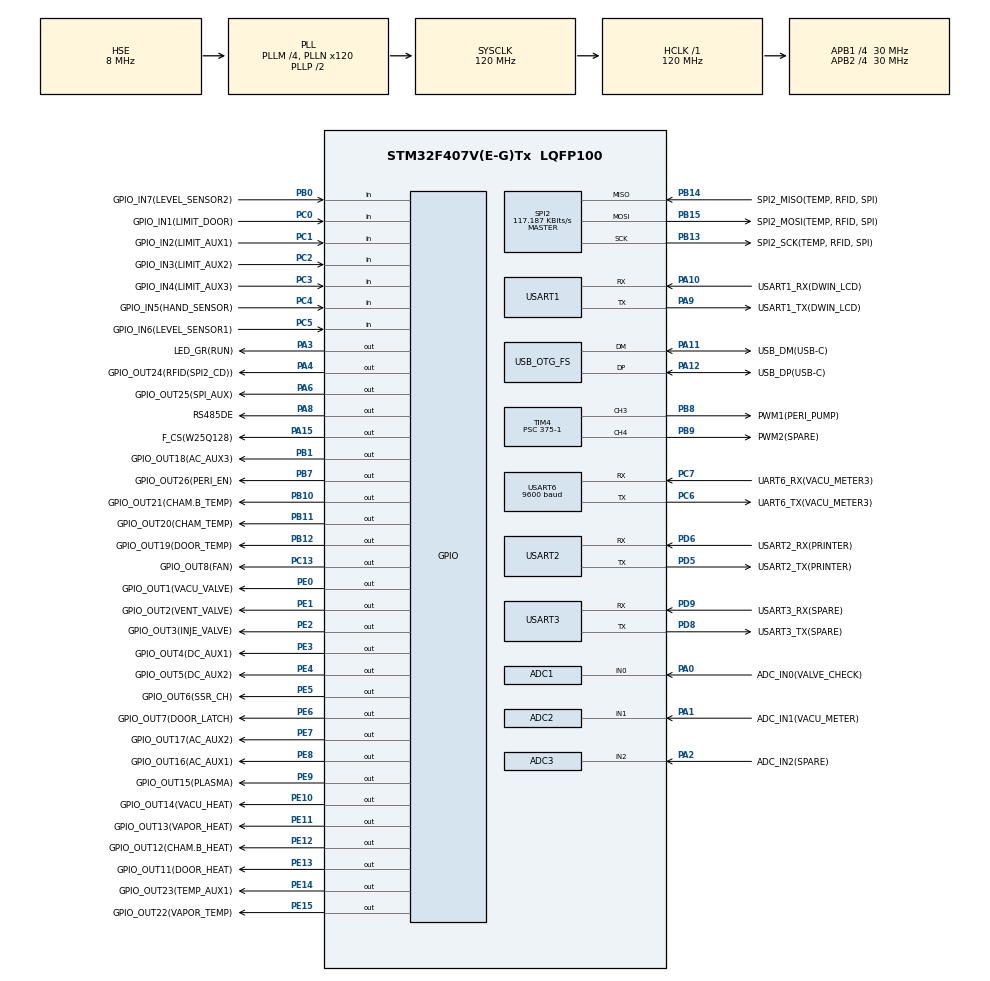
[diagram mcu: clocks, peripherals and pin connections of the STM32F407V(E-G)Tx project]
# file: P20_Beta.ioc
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ADC1.Channel-3\#ChannelRegularConversion=ADC_CHANNEL_0
ADC1.Channel-4\#ChannelInjectedConversion=ADC_CHANNEL_0
ADC1.ClockPrescaler=ADC_CLOCK_SYNC_PCLK_DIV8
ADC1.InjNumberOfConversion=1
ADC1.InjectedOffset-4\#ChannelInjectedConversion=0
ADC1.InjectedRank-4\#ChannelInjectedConversion=1
ADC1.NbrOfConversion=1
ADC1.NbrOfConversionFlag=1
ADC1.Rank-3\#ChannelRegularConversion=1
ADC1.SamplingTime-3\#ChannelRegularConversion=ADC_SAMPLETIME_3CYCLES
ADC1.SamplingTime-4\#ChannelInjectedConversion=ADC_SAMPLETIME_3CYCLES
ADC1.master=1
ADC2.Channel-10\#ChannelRegularConversion=ADC_CHANNEL_1
ADC2.Channel-11\#ChannelRegularConversion=ADC_CHANNEL_1
ADC2.Channel-12\#ChannelRegularConversion=ADC_CHANNEL_1
ADC2.Channel-13\#ChannelRegularConversion=ADC_CHANNEL_1
ADC2.Channel-14\#ChannelRegularConversion=ADC_CHANNEL_1
ADC2.ClockPrescaler=ADC_CLOCK_SYNC_PCLK_DIV8
ADC2.ContinuousConvMode=ENABLE
ADC2.DMAContinuousRequests=ENABLE
ADC2.DiscontinuousConvMode=DISABLE
ADC2.NbrOfConversion=5
ADC2.NbrOfConversionFlag=1
ADC2.Rank-10\#ChannelRegularConversion=1
ADC2.Rank-11\#ChannelRegularConversion=2
ADC2.Rank-12\#ChannelRegularConversion=3
ADC2.Rank-13\#ChannelRegularConversion=4
ADC2.Rank-14\#ChannelRegularConversion=5
ADC2.SamplingTime-10\#ChannelRegularConversion=ADC_SAMPLETIME_15CYCLES
ADC2.SamplingTime-11\#ChannelRegularConversion=ADC_SAMPLETIME_15CYCLES
ADC2.SamplingTime-12\#ChannelRegularConversion=ADC_SAMPLETIME_15CYCLES
ADC2.SamplingTime-13\#ChannelRegularConversion=ADC_SAMPLETIME_15CYCLES
ADC2.SamplingTime-14\#ChannelRegularConversion=ADC_SAMPLETIME_15CYCLES
ADC2.ScanConvMode=ENABLE
ADC3.Channel-2\#ChannelRegularConversion=ADC_CHANNEL_2
ADC3.ClockPrescaler=ADC_CLOCK_SYNC_PCLK_DIV8
ADC3.NbrOfConversionFlag=1
ADC3.Rank-2\#ChannelRegularConversion=1
ADC3.SamplingTime-2\#ChannelRegularConversion=ADC_SAMPLETIME_3CYCLES
Dma.ADC2.0.Direction=DMA_PERIPH_TO_MEMORY
Dma.ADC2.0.FIFOMode=DMA_FIFOMODE_ENABLE
Dma.ADC2.0.FIFOThreshold=DMA_FIFO_THRESHOLD_FULL
Dma.ADC2.0.Instance=DMA2_Stream2
Dma.ADC2.0.MemBurst=DMA_MBURST_SINGLE
Dma.ADC2.0.MemDataAlignment=DMA_MDATAALIGN_WORD
Dma.ADC2.0.MemInc=DMA_MINC_ENABLE
Dma.ADC2.0.Mode=DMA_CIRCULAR
Dma.ADC2.0.PeriphBurst=DMA_PBURST_SINGLE
Dma.ADC2.0.PeriphDataAlignment=DMA_PDATAALIGN_WORD
Dma.ADC2.0.PeriphInc=DMA_PINC_DISABLE
Dma.ADC2.0.Priority=DMA_PRIORITY_LOW
Dma.Request0=ADC2
FATFS._USE_LFN=1
Mcu.Family=STM32F4
Mcu.Name=STM32F407V(E-G)Tx
Mcu.Package=LQFP100
NVIC.DMA2_Stream2_IRQn=true\:0\:0\:false\:false\:true\:false\:true\:true
NVIC.OTG_FS_IRQn=true\:0\:0\:false\:false\:true\:false\:true\:true
NVIC.PriorityGroup=NVIC_PRIORITYGROUP_4
NVIC.TIM7_IRQn=true\:0\:0\:false\:true\:true\:2\:true\:true\:true
NVIC.USART1_IRQn=true\:5\:0\:true\:true\:true\:1\:true\:true\:true
NVIC.USART6_IRQn=true\:0\:0\:false\:false\:true\:true\:true\:true
PA0-WKUP.GPIO_Label=ADC_IN0(VALVE_CHECK)
PA0-WKUP.Signal=ADCx_IN0
PA1.GPIO_Label=ADC_IN1(VACU_METER)
PA1.Signal=ADCx_IN1
PA10.GPIO_Label=USART1_RX(DWIN_LCD)
PA10.GPIO_PuPd=GPIO_PULLUP
PA10.GPIO_Speed=GPIO_SPEED_FREQ_VERY_HIGH
PA10.Mode=Asynchronous
PA10.Signal=USART1_RX
PA11.GPIO_Label=USB_DM(USB-C)
PA11.GPIO_PuPd=GPIO_PULLUP
PA11.GPIO_Speed=GPIO_SPEED_FREQ_HIGH
PA11.Mode=Host_Only
PA11.Signal=USB_OTG_FS_DM
PA12.GPIO_Label=USB_DP(USB-C)
PA12.GPIO_PuPd=GPIO_PULLUP
PA12.GPIO_Speed=GPIO_SPEED_FREQ_HIGH
PA12.Mode=Host_Only
PA12.Signal=USB_OTG_FS_DP
PA13.Mode=Trace_Asynchronous_SW
PA13.Signal=SYS_JTMS-SWDIO
PA14.Mode=Trace_Asynchronous_SW
PA14.Signal=SYS_JTCK-SWCLK
PA15.GPIO_Label=F_CS(W25Q128)
PA15.GPIO_PuPd=GPIO_PULLUP
PA15.GPIO_Speed=GPIO_SPEED_FREQ_LOW
PA15.PinState=GPIO_PIN_RESET
PA15.Signal=GPIO_Output
PA2.GPIO_Label=ADC_IN2(SPARE)
PA2.Signal=ADCx_IN2
PA3.GPIO_Label=LED_GR(RUN)
PA3.Signal=GPIO_Output
PA4.GPIO_Label=GPIO_OUT24(RFID(SPI2_CD))
PA4.GPIO_PuPd=GPIO_PULLUP
PA4.GPIO_Speed=GPIO_SPEED_FREQ_VERY_HIGH
PA4.PinState=GPIO_PIN_SET
PA4.Signal=GPIO_Output
PA5.GPIO_Mode=GPIO_MODE_AF_PP
PA5.GPIO_PuPd=GPIO_PULLDOWN
PA5.GPIO_Speed=GPIO_SPEED_FREQ_HIGH
PA5.Signal=SPI1_SCK
PA6.GPIO_Label=GPIO_OUT25(SPI_AUX)
PA6.GPIO_PuPd=GPIO_PULLUP
PA6.GPIO_Speed=GPIO_SPEED_FREQ_VERY_HIGH
PA6.PinState=GPIO_PIN_SET
PA6.Signal=GPIO_Output
PA8.GPIO_Label=RS485DE
PA8.GPIO_ModeDefaultOutputPP=GPIO_MODE_OUTPUT_OD
PA8.GPIO_PuPd=GPIO_NOPULL
PA8.GPIO_Speed=GPIO_SPEED_FREQ_VERY_HIGH
PA8.Signal=GPIO_Output
PA9.GPIO_Label=USART1_TX(DWIN_LCD)
PA9.GPIO_PuPd=GPIO_PULLUP
PA9.GPIO_Speed=GPIO_SPEED_FREQ_HIGH
PA9.Mode=Asynchronous
PA9.Signal=USART1_TX
PB0.GPIO_Label=GPIO_IN7(LEVEL_SENSOR2)
PB0.GPIO_PuPd=GPIO_PULLDOWN
PB0.Signal=GPIO_Input
PB1.GPIO_Label=GPIO_OUT18(AC_AUX3)
PB1.GPIO_ModeDefaultOutputPP=GPIO_MODE_OUTPUT_OD
PB1.PinState=GPIO_PIN_SET
PB1.Signal=GPIO_Output
PB10.GPIO_Label=GPIO_OUT21(CHAM.B_TEMP)
PB10.GPIO_PuPd=GPIO_PULLUP
PB10.GPIO_Speed=GPIO_SPEED_FREQ_VERY_HIGH
PB10.PinState=GPIO_PIN_SET
PB10.Signal=GPIO_Output
PB11.GPIO_Label=GPIO_OUT20(CHAM_TEMP)
PB11.GPIO_PuPd=GPIO_PULLUP
PB11.GPIO_Speed=GPIO_SPEED_FREQ_VERY_HIGH
PB11.PinState=GPIO_PIN_SET
PB11.Signal=GPIO_Output
PB12.GPIO_Label=GPIO_OUT19(DOOR_TEMP)
PB12.GPIO_PuPd=GPIO_PULLUP
PB12.GPIO_Speed=GPIO_SPEED_FREQ_VERY_HIGH
PB12.PinState=GPIO_PIN_SET
PB12.Signal=GPIO_Output
PB13.GPIO_Label=SPI2_SCK(TEMP, RFID, SPI)
PB13.Mode=Full_Duplex_Master
PB13.Signal=SPI2_SCK
PB14.GPIO_Label=SPI2_MISO(TEMP, RFID, SPI)
PB14.GPIO_PuPd=GPIO_PULLUP
PB14.Mode=Full_Duplex_Master
PB14.Signal=SPI2_MISO
PB15.GPIO_Label=SPI2_MOSI(TEMP, RFID, SPI)
PB15.GPIO_PuPd=GPIO_PULLUP
PB15.Mode=Full_Duplex_Master
PB15.Signal=SPI2_MOSI
PB3.Mode=Trace_Asynchronous_SW
PB3.Signal=SYS_JTDO-SWO
PB4.GPIO_Mode=GPIO_MODE_AF_PP
PB4.GPIO_PuPd=GPIO_PULLUP
PB4.GPIO_Speed=GPIO_SPEED_FREQ_HIGH
PB4.Signal=SPI1_MISO
PB5.GPIO_Mode=GPIO_MODE_AF_PP
PB5.GPIO_PuPd=GPIO_NOPULL
PB5.GPIO_Speed=GPIO_SPEED_FREQ_HIGH
PB5.Signal=SPI1_MOSI
PB7.GPIO_Label=GPIO_OUT26(PERI_EN)
PB7.GPIO_ModeDefaultOutputPP=GPIO_MODE_OUTPUT_OD
PB7.PinState=GPIO_PIN_SET
PB7.Signal=GPIO_Output
PB8.GPIO_Label=PWM1(PERI_PUMP)
PB8.GPIO_ModeDefaultPP=GPIO_MODE_AF_PP
PB8.GPIO_PuPd=GPIO_PULLUP
PB8.Signal=S_TIM4_CH3
PB9.GPIO_Label=PWM2(SPARE)
PB9.GPIO_PuPd=GPIO_PULLUP
PB9.Signal=S_TIM4_CH4
PC0.GPIO_Label=GPIO_IN1(LIMIT_DOOR)
PC0.Signal=GPIO_Input
PC1.GPIO_Label=GPIO_IN2(LIMIT_AUX1)
PC1.Signal=GPIO_Input
PC10.GPIO_Label=SDIO_D2(MICRO_SD)
PC10.GPIO_PuPd=GPIO_PULLUP
PC10.Signal=SDIO_D2
PC11.GPIO_Label=SDIO_D3(MICRO_SD)
PC11.GPIO_PuPd=GPIO_PULLUP
PC11.Signal=SDIO_D3
PC12.GPIO_Label=SDIO_CK(MICRO_SD)
PC12.GPIO_PuPd=GPIO_PULLUP
PC12.Signal=SDIO_CK
PC13-ANTI_TAMP.GPIO_Label=GPIO_OUT8(FAN)
PC13-ANTI_TAMP.Signal=GPIO_Output
PC2.GPIO_Label=GPIO_IN3(LIMIT_AUX2)
PC2.Signal=GPIO_Input
PC3.GPIO_Label=GPIO_IN4(LIMIT_AUX3)
PC3.Signal=GPIO_Input
PC4.GPIO_Label=GPIO_IN5(HAND_SENSOR)
PC4.GPIO_PuPd=GPIO_PULLDOWN
PC4.Signal=GPIO_Input
PC5.GPIO_Label=GPIO_IN6(LEVEL_SENSOR1)
PC5.GPIO_PuPd=GPIO_PULLDOWN
PC5.Signal=GPIO_Input
PC6.GPIO_Label=UART6_TX(VACU_METER3)
PC6.GPIO_Speed=GPIO_SPEED_FREQ_VERY_HIGH
PC6.Mode=Asynchronous
PC6.Signal=USART6_TX
PC7.GPIO_Label=UART6_RX(VACU_METER3)
PC7.GPIO_Speed=GPIO_SPEED_FREQ_VERY_HIGH
PC7.Mode=Asynchronous
PC7.Signal=USART6_RX
PC8.GPIO_Label=SDIO_D0(MICRO_SD)
PC8.GPIO_PuPd=GPIO_PULLUP
PC8.Signal=SDIO_D0
PC9.GPIO_Label=SDIO_D1(MICRO_SD)
PC9.GPIO_PuPd=GPIO_PULLUP
PC9.Signal=SDIO_D1
PD2.GPIO_Label=SDIO_CMD(MICRO_SD)
PD2.GPIO_PuPd=GPIO_PULLUP
PD2.Signal=SDIO_CMD
PD5.GPIO_Label=USART2_TX(PRINTER)
PD5.GPIO_PuPd=GPIO_PULLUP
PD5.Mode=Asynchronous
PD5.Signal=USART2_TX
PD6.GPIO_Label=USART2_RX(PRINTER)
PD6.GPIO_PuPd=GPIO_PULLUP
PD6.Mode=Asynchronous
PD6.Signal=USART2_RX
PD8.GPIO_Label=USART3_TX(SPARE)
PD8.Mode=Asynchronous
PD8.Signal=USART3_TX
PD9.GPIO_Label=USART3_RX(SPARE)
PD9.Mode=Asynchronous
PD9.Signal=USART3_RX
PE0.GPIO_Label=GPIO_OUT1(VACU_VALVE)
PE0.GPIO_ModeDefaultOutputPP=GPIO_MODE_OUTPUT_PP
PE0.GPIO_Speed=GPIO_SPEED_FREQ_LOW
PE0.Signal=GPIO_Output
PE1.GPIO_Label=GPIO_OUT2(VENT_VALVE)
PE1.Signal=GPIO_Output
PE10.GPIO_Label=GPIO_OUT14(VACU_HEAT)
PE10.GPIO_ModeDefaultOutputPP=GPIO_MODE_OUTPUT_OD
PE10.PinState=GPIO_PIN_SET
PE10.Signal=GPIO_Output
PE11.GPIO_Label=GPIO_OUT13(VAPOR_HEAT)
PE11.GPIO_ModeDefaultOutputPP=GPIO_MODE_OUTPUT_OD
PE11.PinState=GPIO_PIN_SET
PE11.Signal=GPIO_Output
PE12.GPIO_Label=GPIO_OUT12(CHAM.B_HEAT)
PE12.GPIO_ModeDefaultOutputPP=GPIO_MODE_OUTPUT_OD
PE12.PinState=GPIO_PIN_SET
PE12.Signal=GPIO_Output
PE13.GPIO_Label=GPIO_OUT11(DOOR_HEAT)
PE13.GPIO_ModeDefaultOutputPP=GPIO_MODE_OUTPUT_OD
PE13.PinState=GPIO_PIN_SET
PE13.Signal=GPIO_Output
PE14.GPIO_Label=GPIO_OUT23(TEMP_AUX1)
PE14.GPIO_PuPd=GPIO_PULLUP
PE14.GPIO_Speed=GPIO_SPEED_FREQ_VERY_HIGH
PE14.PinState=GPIO_PIN_SET
PE14.Signal=GPIO_Output
PE15.GPIO_Label=GPIO_OUT22(VAPOR_TEMP)
PE15.GPIO_PuPd=GPIO_PULLUP
PE15.GPIO_Speed=GPIO_SPEED_FREQ_VERY_HIGH
PE15.PinState=GPIO_PIN_SET
PE15.Signal=GPIO_Output
PE2.GPIO_Label=GPIO_OUT3(INJE_VALVE)
PE2.Signal=GPIO_Output
PE3.GPIO_Label=GPIO_OUT4(DC_AUX1)
PE3.Signal=GPIO_Output
PE4.GPIO_Label=GPIO_OUT5(DC_AUX2)
PE4.Signal=GPIO_Output
PE5.GPIO_Label=GPIO_OUT6(SSR_CH)
PE5.Signal=GPIO_Output
PE6.GPIO_Label=GPIO_OUT7(DOOR_LATCH)
PE6.Signal=GPIO_Output
PE7.GPIO_Label=GPIO_OUT17(AC_AUX2)
PE7.GPIO_ModeDefaultOutputPP=GPIO_MODE_OUTPUT_OD
PE7.PinState=GPIO_PIN_SET
PE7.Signal=GPIO_Output
PE8.GPIO_Label=GPIO_OUT16(AC_AUX1)
PE8.GPIO_ModeDefaultOutputPP=GPIO_MODE_OUTPUT_OD
PE8.PinState=GPIO_PIN_SET
PE8.Signal=GPIO_Output
PE9.GPIO_Label=GPIO_OUT15(PLASMA)
PE9.GPIO_ModeDefaultOutputPP=GPIO_MODE_OUTPUT_OD
PE9.PinState=GPIO_PIN_SET
PE9.Signal=GPIO_Output
PH0-OSC_IN.Mode=HSE-External-Oscillator
PH0-OSC_IN.Signal=RCC_OSC_IN
PH1-OSC_OUT.Mode=HSE-External-Oscillator
PH1-OSC_OUT.Signal=RCC_OSC_OUT
ProjectManager.HeapSize=0x200
ProjectManager.StackSize=0x400
ProjectManager.TargetToolchain=STM32CubeIDE
RCC.48MHZClocksFreq_Value=48000000
RCC.AHBFreq_Value=120000000
RCC.APB1CLKDivider=RCC_HCLK_DIV4
RCC.APB1Freq_Value=30000000
RCC.APB1TimFreq_Value=60000000
RCC.APB2CLKDivider=RCC_HCLK_DIV4
RCC.APB2Freq_Value=30000000
RCC.APB2TimFreq_Value=60000000
RCC.CortexFreq_Value=120000000
RCC.HCLKFreq_Value=120000000
RCC.HSE_VALUE=8000000
RCC.HSI_VALUE=16000000
RCC.LSE_VALUE=32768
RCC.PLLM=4
RCC.PLLN=120
RCC.PLLQ=5
RCC.SYSCLKFreq_VALUE=120000000
RCC.SYSCLKSource=RCC_SYSCLKSOURCE_PLLCLK
RCC.VCOOutputFreq_Value=240000000
SH.ADCx_IN0.0=ADC1_IN0,IN0
SH.ADCx_IN1.0=ADC2_IN1,IN1
SH.ADCx_IN2.0=ADC3_IN2,IN2
SH.S_TIM4_CH3.0=TIM4_CH3,PWM Generation3 CH3
SH.S_TIM4_CH4.0=TIM4_CH4,PWM Generation4 CH4
SPI2.BaudRatePrescaler=SPI_BAUDRATEPRESCALER_256
SPI2.CalculateBaudRate=117.187 KBits/s
SPI2.Direction=SPI_DIRECTION_2LINES
SPI2.Mode=SPI_MODE_MASTER
SPI2.VirtualType=VM_MASTER
TIM4.AutoReloadPreload=TIM_AUTORELOAD_PRELOAD_ENABLE
TIM4.Channel-PWM\ Generation3\ CH3=TIM_CHANNEL_3
TIM4.Channel-PWM\ Generation4\ CH4=TIM_CHANNEL_4
TIM4.Period=550-1
TIM4.Prescaler=375-1
TIM4.Pulse-PWM\ Generation3\ CH3=550/2-1
TIM4.Pulse-PWM\ Generation4\ CH4=550/2-1
TIM7.Period=6000-1
TIM7.Prescaler=10-1
USART1.VirtualMode=VM_ASYNC
USART2.VirtualMode=VM_ASYNC
USART3.VirtualMode=VM_ASYNC
USART6.BaudRate=9600
USART6.VirtualMode=VM_ASYNC
USB_HOST.SW_VBUS_DRIVE_MSC_FS=true
USB_HOST.USBH_HandleTypeDef-MSC_FS=hUsbHostFS
USB_HOST.USBH_PROCESS_STACK_SIZE-MSC_FS=1024
USB_HOST.VirtualModeFS=Msc
USB_OTG_FS.VirtualMode=Host_Only
USB_OTG_FS.phy_itface=HCD_PHY_EMBEDDED
VP_CRC_VS_CRC.Mode=CRC_Activate
VP_FATFS_VS_USB.Mode=USB
VP_RTC_VS_RTC_Activate.Mode=RTC_Enabled
VP_RTC_VS_RTC_Calendar.Mode=RTC_Calendar
VP_TIM7_VS_ClockSourceINT.Mode=Enable_Timer
VP_USB_HOST_VS_USB_HOST_MSC_FS.Mode=MSC_FS
board=custom

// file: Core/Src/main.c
/* USER CODE BEGIN Header */
/**
  ******************************************************************************
  * @file           : main.c
  * @brief          : Main program body
  ******************************************************************************
  * @attention
  *
  * Copyright (c) 2024 STMicroelectronics.
  * All rights reserved.
  *
  * This software is licensed under terms that can be found in the LICENSE file
  * in the root directory of this software component.
  * If no LICENSE file comes with this software, it is provided AS-IS.
  *
  ******************************************************************************
  */
/* USER CODE END Header */
#include "main.h"
#include "fatfs.h"
#include "usb_host.h"

/* USER CODE BEGIN Includes */
#include "hardware.h"
#include "sensor.h"
#include "peripheral.h"
/* USER CODE END Includes */

ADC_HandleTypeDef hadc1;
ADC_HandleTypeDef hadc2;
ADC_HandleTypeDef hadc3;
DMA_HandleTypeDef hdma_adc2;

CRC_HandleTypeDef hcrc;

RTC_HandleTypeDef hrtc;

SPI_HandleTypeDef hspi2;

TIM_HandleTypeDef htim4;
TIM_HandleTypeDef htim7;

UART_HandleTypeDef huart1;
UART_HandleTypeDef huart2;
UART_HandleTypeDef huart3;
UART_HandleTypeDef huart6;

void SystemClock_Config(void);
static void MX_GPIO_Init(void);
static void MX_DMA_Init(void);
static void MX_RTC_Init(void);
static void MX_SPI2_Init(void);
static void MX_TIM4_Init(void);
static void MX_TIM7_Init(void);
static void MX_USART1_UART_Init(void);
static void MX_USART2_UART_Init(void);
static void MX_USART3_UART_Init(void);
static void MX_USART6_UART_Init(void);
static void MX_ADC2_Init(void);
static void MX_ADC1_Init(void);
static void MX_ADC3_Init(void);
static void MX_CRC_Init(void);
static void MX_NVIC_Init(void);
void MX_USB_HOST_Process(void);

/* USER CODE BEGIN 0 */

unsigned int	mscounter;
unsigned int	EndTimeCounter, EndTestTimeCounter;
unsigned char Timer_DeliSecond_Flag, Timer_Half_1s_Flag, Timer_1s_Flag;
unsigned char UART_Receive_Flag;
unsigned char Running_Flag, EndTimer_Flag, ProcessWait_Flag;

void HAL_UART_RxCpltCallback(UART_HandleTypeDef *huart)
{
    if(huart->Instance == USART1)
    {
    	UART_Receive_Flag = 1;
    	// Restart Interrupt.
    	//HAL_UART_Receive_IT(&huart1, (uint8_t*)LCD_rx_data, 9);
    	//HAL_GPIO_TogglePin(LED_GR_GPIO_Port, LED_GR_Pin);
    }
}

/* USER CODE END 0 */

int main(void)
{

  /* MCU Configuration--------------------------------------------------------*/

  /* Reset of all peripherals, Initializes the Flash interface and the Systick. */
  HAL_Init();

  /* Configure the system clock */
  SystemClock_Config();

  /* Initialize all configured peripherals */
  MX_GPIO_Init();
  MX_DMA_Init();
  MX_RTC_Init();
  MX_SPI2_Init();
  MX_TIM4_Init();
  MX_TIM7_Init();
  MX_USART1_UART_Init();
  MX_USART2_UART_Init();
  MX_USART3_UART_Init();
  MX_USART6_UART_Init();
  MX_ADC2_Init();
  MX_ADC1_Init();
  MX_ADC3_Init();
  MX_CRC_Init();
  MX_FATFS_Init();
  MX_USB_HOST_Init();

  /* Initialize interrupts */
  MX_NVIC_Init();
  /* USER CODE BEGIN 2 */
  HAL_TIM_Base_Start_IT(&htim7);
  Init_Device();
  /* USER CODE END 2 */

  /* Infinite loop */
  /* USER CODE BEGIN WHILE */
  while (1)
  {
	  loop();
    /* USER CODE END WHILE */
    MX_USB_HOST_Process();

  }
}

void SystemClock_Config(void)
{
  RCC_OscInitTypeDef RCC_OscInitStruct = {0};
  RCC_ClkInitTypeDef RCC_ClkInitStruct = {0};

  /** Configure the main internal regulator output voltage
  */
  __HAL_RCC_PWR_CLK_ENABLE();
  __HAL_PWR_VOLTAGESCALING_CONFIG(PWR_REGULATOR_VOLTAGE_SCALE1);

  /** Initializes the RCC Oscillators according to the specified parameters
  * in the RCC_OscInitTypeDef structure.
  */
  RCC_OscInitStruct.OscillatorType = RCC_OSCILLATORTYPE_LSI|RCC_OSCILLATORTYPE_HSE;
  RCC_OscInitStruct.HSEState = RCC_HSE_ON;
  RCC_OscInitStruct.LSIState = RCC_LSI_ON;
  RCC_OscInitStruct.PLL.PLLState = RCC_PLL_ON;
  RCC_OscInitStruct.PLL.PLLSource = RCC_PLLSOURCE_HSE;
  RCC_OscInitStruct.PLL.PLLM = 4;
  RCC_OscInitStruct.PLL.PLLN = 120;
  RCC_OscInitStruct.PLL.PLLP = RCC_PLLP_DIV2;
  RCC_OscInitStruct.PLL.PLLQ = 5;
  if (HAL_RCC_OscConfig(&RCC_OscInitStruct) != HAL_OK)
  {
    Error_Handler();
  }

  /** Initializes the CPU, AHB and APB buses clocks
  */
  RCC_ClkInitStruct.ClockType = RCC_CLOCKTYPE_HCLK|RCC_CLOCKTYPE_SYSCLK
                              |RCC_CLOCKTYPE_PCLK1|RCC_CLOCKTYPE_PCLK2;
  RCC_ClkInitStruct.SYSCLKSource = RCC_SYSCLKSOURCE_PLLCLK;
  RCC_ClkInitStruct.AHBCLKDivider = RCC_SYSCLK_DIV1;
  RCC_ClkInitStruct.APB1CLKDivider = RCC_HCLK_DIV4;
  RCC_ClkInitStruct.APB2CLKDivider = RCC_HCLK_DIV4;

  if (HAL_RCC_ClockConfig(&RCC_ClkInitStruct, FLASH_LATENCY_3) != HAL_OK)
  {
    Error_Handler();
  }
}

/**
  * @brief NVIC Configuration.
  * @retval None
  */
static void MX_NVIC_Init(void)
{
  /* USART1_IRQn interrupt configuration */
  HAL_NVIC_SetPriority(USART1_IRQn, 5, 0);
  HAL_NVIC_EnableIRQ(USART1_IRQn);
  /* TIM7_IRQn interrupt configuration */
  HAL_NVIC_SetPriority(TIM7_IRQn, 0, 0);
  HAL_NVIC_EnableIRQ(TIM7_IRQn);
}

static void MX_ADC1_Init(void)
{

  ADC_ChannelConfTypeDef sConfig = {0};
  ADC_InjectionConfTypeDef sConfigInjected = {0};

  /** Configure the global features of the ADC (Clock, Resolution, Data Alignment and number of conversion)
  */
  hadc1.Instance = ADC1;
  hadc1.Init.ClockPrescaler = ADC_CLOCK_SYNC_PCLK_DIV8;
  hadc1.Init.Resolution = ADC_RESOLUTION_12B;
  hadc1.Init.ScanConvMode = DISABLE;
  hadc1.Init.ContinuousConvMode = DISABLE;
  hadc1.Init.DiscontinuousConvMode = DISABLE;
  hadc1.Init.ExternalTrigConvEdge = ADC_EXTERNALTRIGCONVEDGE_NONE;
  hadc1.Init.ExternalTrigConv = ADC_SOFTWARE_START;
  hadc1.Init.DataAlign = ADC_DATAALIGN_RIGHT;
  hadc1.Init.NbrOfConversion = 1;
  hadc1.Init.DMAContinuousRequests = DISABLE;
  hadc1.Init.EOCSelection = ADC_EOC_SINGLE_CONV;
  if (HAL_ADC_Init(&hadc1) != HAL_OK)
  {
    Error_Handler();
  }

  /** Configure for the selected ADC regular channel its corresponding rank in the sequencer and its sample time.
  */
  sConfig.Channel = ADC_CHANNEL_0;
  sConfig.Rank = 1;
  sConfig.SamplingTime = ADC_SAMPLETIME_3CYCLES;
  if (HAL_ADC_ConfigChannel(&hadc1, &sConfig) != HAL_OK)
  {
    Error_Handler();
  }

  /** Configures for the selected ADC injected channel its corresponding rank in the sequencer and its sample time
  */
  sConfigInjected.InjectedChannel = ADC_CHANNEL_0;
  sConfigInjected.InjectedRank = 1;
  sConfigInjected.InjectedNbrOfConversion = 1;
  sConfigInjected.InjectedSamplingTime = ADC_SAMPLETIME_3CYCLES;
  sConfigInjected.ExternalTrigInjecConvEdge = ADC_EXTERNALTRIGINJECCONVEDGE_NONE;
  sConfigInjected.ExternalTrigInjecConv = ADC_INJECTED_SOFTWARE_START;
  sConfigInjected.AutoInjectedConv = DISABLE;
  sConfigInjected.InjectedDiscontinuousConvMode = DISABLE;
  sConfigInjected.InjectedOffset = 0;
  if (HAL_ADCEx_InjectedConfigChannel(&hadc1, &sConfigInjected) != HAL_OK)
  {
    Error_Handler();
  }

}

static void MX_ADC2_Init(void)
{

  ADC_ChannelConfTypeDef sConfig = {0};

  /** Configure the global features of the ADC (Clock, Resolution, Data Alignment and number of conversion)
  */
  hadc2.Instance = ADC2;
  hadc2.Init.ClockPrescaler = ADC_CLOCK_SYNC_PCLK_DIV8;
  hadc2.Init.Resolution = ADC_RESOLUTION_12B;
  hadc2.Init.ScanConvMode = ENABLE;
  hadc2.Init.ContinuousConvMode = ENABLE;
  hadc2.Init.DiscontinuousConvMode = DISABLE;
  hadc2.Init.ExternalTrigConvEdge = ADC_EXTERNALTRIGCONVEDGE_NONE;
  hadc2.Init.ExternalTrigConv = ADC_SOFTWARE_START;
  hadc2.Init.DataAlign = ADC_DATAALIGN_RIGHT;
  hadc2.Init.NbrOfConversion = 5;
  hadc2.Init.DMAContinuousRequests = ENABLE;
  hadc2.Init.EOCSelection = ADC_EOC_SINGLE_CONV;
  if (HAL_ADC_Init(&hadc2) != HAL_OK)
  {
    Error_Handler();
  }

  /** Configure for the selected ADC regular channel its corresponding rank in the sequencer and its sample time.
  */
  sConfig.Channel = ADC_CHANNEL_1;
  sConfig.Rank = 1;
  sConfig.SamplingTime = ADC_SAMPLETIME_15CYCLES;
  if (HAL_ADC_ConfigChannel(&hadc2, &sConfig) != HAL_OK)
  {
    Error_Handler();
  }

  /** Configure for the selected ADC regular channel its corresponding rank in the sequencer and its sample time.
  */
  sConfig.Rank = 2;
  if (HAL_ADC_ConfigChannel(&hadc2, &sConfig) != HAL_OK)
  {
    Error_Handler();
  }

  /** Configure for the selected ADC regular channel its corresponding rank in the sequencer and its sample time.
  */
  sConfig.Rank = 3;
  if (HAL_ADC_ConfigChannel(&hadc2, &sConfig) != HAL_OK)
  {
    Error_Handler();
  }

  /** Configure for the selected ADC regular channel its corresponding rank in the sequencer and its sample time.
  */
  sConfig.Rank = 4;
  if (HAL_ADC_ConfigChannel(&hadc2, &sConfig) != HAL_OK)
  {
    Error_Handler();
  }

  /** Configure for the selected ADC regular channel its corresponding rank in the sequencer and its sample time.
  */
  sConfig.Rank = 5;
  if (HAL_ADC_ConfigChannel(&hadc2, &sConfig) != HAL_OK)
  {
    Error_Handler();
  }

}

static void MX_ADC3_Init(void)
{

  ADC_ChannelConfTypeDef sConfig = {0};

  /** Configure the global features of the ADC (Clock, Resolution, Data Alignment and number of conversion)
  */
  hadc3.Instance = ADC3;
  hadc3.Init.ClockPrescaler = ADC_CLOCK_SYNC_PCLK_DIV8;
  hadc3.Init.Resolution = ADC_RESOLUTION_12B;
  hadc3.Init.ScanConvMode = DISABLE;
  hadc3.Init.ContinuousConvMode = DISABLE;
  hadc3.Init.DiscontinuousConvMode = DISABLE;
  hadc3.Init.ExternalTrigConvEdge = ADC_EXTERNALTRIGCONVEDGE_NONE;
  hadc3.Init.ExternalTrigConv = ADC_SOFTWARE_START;
  hadc3.Init.DataAlign = ADC_DATAALIGN_RIGHT;
  hadc3.Init.NbrOfConversion = 1;
  hadc3.Init.DMAContinuousRequests = DISABLE;
  hadc3.Init.EOCSelection = ADC_EOC_SINGLE_CONV;
  if (HAL_ADC_Init(&hadc3) != HAL_OK)
  {
    Error_Handler();
  }

  /** Configure for the selected ADC regular channel its corresponding rank in the sequencer and its sample time.
  */
  sConfig.Channel = ADC_CHANNEL_2;
  sConfig.Rank = 1;
  sConfig.SamplingTime = ADC_SAMPLETIME_3CYCLES;
  if (HAL_ADC_ConfigChannel(&hadc3, &sConfig) != HAL_OK)
  {
    Error_Handler();
  }

}

static void MX_CRC_Init(void)
{

  hcrc.Instance = CRC;
  if (HAL_CRC_Init(&hcrc) != HAL_OK)
  {
    Error_Handler();
  }

}

static void MX_RTC_Init(void)
{

  RTC_TimeTypeDef sTime = {0};
  RTC_DateTypeDef sDate = {0};

  /** Initialize RTC Only
  */
  hrtc.Instance = RTC;
  hrtc.Init.HourFormat = RTC_HOURFORMAT_24;
  hrtc.Init.AsynchPrediv = 127;
  hrtc.Init.SynchPrediv = 255;
  hrtc.Init.OutPut = RTC_OUTPUT_DISABLE;
  hrtc.Init.OutPutPolarity = RTC_OUTPUT_POLARITY_HIGH;
  hrtc.Init.OutPutType = RTC_OUTPUT_TYPE_OPENDRAIN;
  if (HAL_RTC_Init(&hrtc) != HAL_OK)
  {
    Error_Handler();
  }

  /** Initialize RTC and set the Time and Date
  */
  sTime.Hours = 0x0;
  sTime.Minutes = 0x0;
  sTime.Seconds = 0x0;
  sTime.DayLightSaving = RTC_DAYLIGHTSAVING_NONE;
  sTime.StoreOperation = RTC_STOREOPERATION_RESET;
  if (HAL_RTC_SetTime(&hrtc, &sTime, RTC_FORMAT_BCD) != HAL_OK)
  {
    Error_Handler();
  }
  sDate.WeekDay = RTC_WEEKDAY_MONDAY;
  sDate.Month = RTC_MONTH_JANUARY;
  sDate.Date = 0x1;
  sDate.Year = 0x0;

  if (HAL_RTC_SetDate(&hrtc, &sDate, RTC_FORMAT_BCD) != HAL_OK)
  {
    Error_Handler();
  }

}

static void MX_SPI2_Init(void)
{

  /* SPI2 parameter configuration*/
  hspi2.Instance = SPI2;
  hspi2.Init.Mode = SPI_MODE_MASTER;
  hspi2.Init.Direction = SPI_DIRECTION_2LINES;
  hspi2.Init.DataSize = SPI_DATASIZE_8BIT;
  hspi2.Init.CLKPolarity = SPI_POLARITY_LOW;
  hspi2.Init.CLKPhase = SPI_PHASE_1EDGE;
  hspi2.Init.NSS = SPI_NSS_SOFT;
  hspi2.Init.BaudRatePrescaler = SPI_BAUDRATEPRESCALER_256;
  hspi2.Init.FirstBit = SPI_FIRSTBIT_MSB;
  hspi2.Init.TIMode = SPI_TIMODE_DISABLE;
  hspi2.Init.CRCCalculation = SPI_CRCCALCULATION_DISABLE;
  hspi2.Init.CRCPolynomial = 10;
  if (HAL_SPI_Init(&hspi2) != HAL_OK)
  {
    Error_Handler();
  }

}

static void MX_TIM4_Init(void)
{

  TIM_MasterConfigTypeDef sMasterConfig = {0};
  TIM_OC_InitTypeDef sConfigOC = {0};

  htim4.Instance = TIM4;
  htim4.Init.Prescaler = 375-1;
  htim4.Init.CounterMode = TIM_COUNTERMODE_UP;
  htim4.Init.Period = 550-1;
  htim4.Init.ClockDivision = TIM_CLOCKDIVISION_DIV1;
  htim4.Init.AutoReloadPreload = TIM_AUTORELOAD_PRELOAD_ENABLE;
  if (HAL_TIM_PWM_Init(&htim4) != HAL_OK)
  {
    Error_Handler();
  }
  sMasterConfig.MasterOutputTrigger = TIM_TRGO_RESET;
  sMasterConfig.MasterSlaveMode = TIM_MASTERSLAVEMODE_DISABLE;
  if (HAL_TIMEx_MasterConfigSynchronization(&htim4, &sMasterConfig) != HAL_OK)
  {
    Error_Handler();
  }
  sConfigOC.OCMode = TIM_OCMODE_PWM1;
  sConfigOC.Pulse = 550/2-1;
  sConfigOC.OCPolarity = TIM_OCPOLARITY_HIGH;
  sConfigOC.OCFastMode = TIM_OCFAST_DISABLE;
  if (HAL_TIM_PWM_ConfigChannel(&htim4, &sConfigOC, TIM_CHANNEL_3) != HAL_OK)
  {
    Error_Handler();
  }
  if (HAL_TIM_PWM_ConfigChannel(&htim4, &sConfigOC, TIM_CHANNEL_4) != HAL_OK)
  {
    Error_Handler();
  }
  HAL_TIM_MspPostInit(&htim4);

}

static void MX_TIM7_Init(void)
{

  TIM_MasterConfigTypeDef sMasterConfig = {0};

  htim7.Instance = TIM7;
  htim7.Init.Prescaler = 10-1;
  htim7.Init.CounterMode = TIM_COUNTERMODE_UP;
  htim7.Init.Period = 6000-1;
  htim7.Init.AutoReloadPreload = TIM_AUTORELOAD_PRELOAD_DISABLE;
  if (HAL_TIM_Base_Init(&htim7) != HAL_OK)
  {
    Error_Handler();
  }
  sMasterConfig.MasterOutputTrigger = TIM_TRGO_RESET;
  sMasterConfig.MasterSlaveMode = TIM_MASTERSLAVEMODE_DISABLE;
  if (HAL_TIMEx_MasterConfigSynchronization(&htim7, &sMasterConfig) != HAL_OK)
  {
    Error_Handler();
  }

}

static void MX_USART1_UART_Init(void)
{

  huart1.Instance = USART1;
  huart1.Init.BaudRate = 115200;
  huart1.Init.WordLength = UART_WORDLENGTH_8B;
  huart1.Init.StopBits = UART_STOPBITS_1;
  huart1.Init.Parity = UART_PARITY_NONE;
  huart1.Init.Mode = UART_MODE_TX_RX;
  huart1.Init.HwFlowCtl = UART_HWCONTROL_NONE;
  huart1.Init.OverSampling = UART_OVERSAMPLING_16;
  if (HAL_UART_Init(&huart1) != HAL_OK)
  {
    Error_Handler();
  }

}

static void MX_USART2_UART_Init(void)
{

  huart2.Instance = USART2;
  huart2.Init.BaudRate = 115200;
  huart2.Init.WordLength = UART_WORDLENGTH_8B;
  huart2.Init.StopBits = UART_STOPBITS_1;
  huart2.Init.Parity = UART_PARITY_NONE;
  huart2.Init.Mode = UART_MODE_TX_RX;
  huart2.Init.HwFlowCtl = UART_HWCONTROL_NONE;
  huart2.Init.OverSampling = UART_OVERSAMPLING_16;
  if (HAL_UART_Init(&huart2) != HAL_OK)
  {
    Error_Handler();
  }

}

static void MX_USART3_UART_Init(void)
{

  huart3.Instance = USART3;
  huart3.Init.BaudRate = 115200;
  huart3.Init.WordLength = UART_WORDLENGTH_8B;
  huart3.Init.StopBits = UART_STOPBITS_1;
  huart3.Init.Parity = UART_PARITY_NONE;
  huart3.Init.Mode = UART_MODE_TX_RX;
  huart3.Init.HwFlowCtl = UART_HWCONTROL_NONE;
  huart3.Init.OverSampling = UART_OVERSAMPLING_16;
  if (HAL_UART_Init(&huart3) != HAL_OK)
  {
    Error_Handler();
  }

}

static void MX_USART6_UART_Init(void)
{

  huart6.Instance = USART6;
  huart6.Init.BaudRate = 9600;
  huart6.Init.WordLength = UART_WORDLENGTH_8B;
  huart6.Init.StopBits = UART_STOPBITS_1;
  huart6.Init.Parity = UART_PARITY_NONE;
  huart6.Init.Mode = UART_MODE_TX_RX;
  huart6.Init.HwFlowCtl = UART_HWCONTROL_NONE;
  huart6.Init.OverSampling = UART_OVERSAMPLING_16;
  if (HAL_UART_Init(&huart6) != HAL_OK)
  {
    Error_Handler();
  }

}

static void MX_DMA_Init(void)
{

  /* DMA controller clock enable */
  __HAL_RCC_DMA2_CLK_ENABLE();

  /* DMA interrupt init */
  /* DMA2_Stream2_IRQn interrupt configuration */
  HAL_NVIC_SetPriority(DMA2_Stream2_IRQn, 0, 0);
  HAL_NVIC_EnableIRQ(DMA2_Stream2_IRQn);

}

static void MX_GPIO_Init(void)
{
  GPIO_InitTypeDef GPIO_InitStruct = {0};

  /* GPIO Ports Clock Enable */
  __HAL_RCC_GPIOE_CLK_ENABLE();
  __HAL_RCC_GPIOC_CLK_ENABLE();
  __HAL_RCC_GPIOH_CLK_ENABLE();
  __HAL_RCC_GPIOA_CLK_ENABLE();
  __HAL_RCC_GPIOB_CLK_ENABLE();
  __HAL_RCC_GPIOD_CLK_ENABLE();

  /*Configure GPIO pin Output Level */
  HAL_GPIO_WritePin(GPIOE, GPIO_OUT3_Pin|GPIO_OUT4_Pin|GPIO_OUT5_Pin|GPIO_OUT6_Pin
                          |GPIO_OUT7_Pin|GPIO_OUT1_Pin|GPIO_OUT2_Pin, GPIO_PIN_RESET);

  /*Configure GPIO pin Output Level */
  HAL_GPIO_WritePin(GPIO_OUT8_GPIO_Port, GPIO_OUT8_Pin, GPIO_PIN_RESET);

  /*Configure GPIO pin Output Level */
  HAL_GPIO_WritePin(GPIOA, LED_GR_Pin|RS485DE_Pin|F_CS_Pin, GPIO_PIN_RESET);

  /*Configure GPIO pin Output Level */
  HAL_GPIO_WritePin(GPIOA, GPIO_OUT24_Pin|GPIO_OUT25_Pin, GPIO_PIN_SET);

  /*Configure GPIO pin Output Level */
  HAL_GPIO_WritePin(GPIOB, GPIO_OUT18_Pin|GPIO_OUT21_Pin|GPIO_OUT20_Pin|GPIO_OUT19_Pin
                          |GPIO_OUT26_Pin, GPIO_PIN_SET);

  /*Configure GPIO pin Output Level */
  HAL_GPIO_WritePin(GPIOE, GPIO_OUT17_Pin|GPIO_OUT16_Pin|GPIO_OUT15_Pin|GPIO_OUT14_Pin
                          |GPIO_OUT13_Pin|GPIO_OUT12_Pin|GPIO_OUT11_Pin|GPIO_OUT23_Pin
                          |GPIO_OUT22_Pin, GPIO_PIN_SET);

  /*Configure GPIO pins : GPIO_OUT3_Pin GPIO_OUT4_Pin GPIO_OUT5_Pin GPIO_OUT6_Pin
                           GPIO_OUT7_Pin GPIO_OUT1_Pin GPIO_OUT2_Pin */
  GPIO_InitStruct.Pin = GPIO_OUT3_Pin|GPIO_OUT4_Pin|GPIO_OUT5_Pin|GPIO_OUT6_Pin
                          |GPIO_OUT7_Pin|GPIO_OUT1_Pin|GPIO_OUT2_Pin;
  GPIO_InitStruct.Mode = GPIO_MODE_OUTPUT_PP;
  GPIO_InitStruct.Pull = GPIO_NOPULL;
  GPIO_InitStruct.Speed = GPIO_SPEED_FREQ_LOW;
  HAL_GPIO_Init(GPIOE, &GPIO_InitStruct);

  /*Configure GPIO pin : GPIO_OUT8_Pin */
  GPIO_InitStruct.Pin = GPIO_OUT8_Pin;
  GPIO_InitStruct.Mode = GPIO_MODE_OUTPUT_PP;
  GPIO_InitStruct.Pull = GPIO_NOPULL;
  GPIO_InitStruct.Speed = GPIO_SPEED_FREQ_LOW;
  HAL_GPIO_Init(GPIO_OUT8_GPIO_Port, &GPIO_InitStruct);

  /*Configure GPIO pins : GPIO_IN1_Pin GPIO_IN2_Pin GPIO_IN3_Pin GPIO_IN4_Pin */
  GPIO_InitStruct.Pin = GPIO_IN1_Pin|GPIO_IN2_Pin|GPIO_IN3_Pin|GPIO_IN4_Pin;
  GPIO_InitStruct.Mode = GPIO_MODE_INPUT;
  GPIO_InitStruct.Pull = GPIO_NOPULL;
  HAL_GPIO_Init(GPIOC, &GPIO_InitStruct);

  /*Configure GPIO pin : LED_GR_Pin */
  GPIO_InitStruct.Pin = LED_GR_Pin;
  GPIO_InitStruct.Mode = GPIO_MODE_OUTPUT_PP;
  GPIO_InitStruct.Pull = GPIO_NOPULL;
  GPIO_InitStruct.Speed = GPIO_SPEED_FREQ_LOW;
  HAL_GPIO_Init(LED_GR_GPIO_Port, &GPIO_InitStruct);

  /*Configure GPIO pins : GPIO_OUT24_Pin GPIO_OUT25_Pin */
  GPIO_InitStruct.Pin = GPIO_OUT24_Pin|GPIO_OUT25_Pin;
  GPIO_InitStruct.Mode = GPIO_MODE_OUTPUT_PP;
  GPIO_InitStruct.Pull = GPIO_PULLUP;
  GPIO_InitStruct.Speed = GPIO_SPEED_FREQ_VERY_HIGH;
  HAL_GPIO_Init(GPIOA, &GPIO_InitStruct);

  /*Configure GPIO pin : PA5 */
  GPIO_InitStruct.Pin = GPIO_PIN_5;
  GPIO_InitStruct.Mode = GPIO_MODE_AF_PP;
  GPIO_InitStruct.Pull = GPIO_PULLDOWN;
  GPIO_InitStruct.Speed = GPIO_SPEED_FREQ_HIGH;
  GPIO_InitStruct.Alternate = GPIO_AF5_SPI1;
  HAL_GPIO_Init(GPIOA, &GPIO_InitStruct);

  /*Configure GPIO pins : GPIO_IN5_Pin GPIO_IN6_Pin */
  GPIO_InitStruct.Pin = GPIO_IN5_Pin|GPIO_IN6_Pin;
  GPIO_InitStruct.Mode = GPIO_MODE_INPUT;
  GPIO_InitStruct.Pull = GPIO_PULLDOWN;
  HAL_GPIO_Init(GPIOC, &GPIO_InitStruct);

  /*Configure GPIO pin : GPIO_IN7_Pin */
  GPIO_InitStruct.Pin = GPIO_IN7_Pin;
  GPIO_InitStruct.Mode = GPIO_MODE_INPUT;
  GPIO_InitStruct.Pull = GPIO_PULLDOWN;
  HAL_GPIO_Init(GPIO_IN7_GPIO_Port, &GPIO_InitStruct);

  /*Configure GPIO pins : GPIO_OUT18_Pin GPIO_OUT26_Pin */
  GPIO_InitStruct.Pin = GPIO_OUT18_Pin|GPIO_OUT26_Pin;
  GPIO_InitStruct.Mode = GPIO_MODE_OUTPUT_OD;
  GPIO_InitStruct.Pull = GPIO_NOPULL;
  GPIO_InitStruct.Speed = GPIO_SPEED_FREQ_LOW;
  HAL_GPIO_Init(GPIOB, &GPIO_InitStruct);

  /*Configure GPIO pins : GPIO_OUT17_Pin GPIO_OUT16_Pin GPIO_OUT15_Pin GPIO_OUT14_Pin
                           GPIO_OUT13_Pin GPIO_OUT12_Pin GPIO_OUT11_Pin */
  GPIO_InitStruct.Pin = GPIO_OUT17_Pin|GPIO_OUT16_Pin|GPIO_OUT15_Pin|GPIO_OUT14_Pin
                          |GPIO_OUT13_Pin|GPIO_OUT12_Pin|GPIO_OUT11_Pin;
  GPIO_InitStruct.Mode = GPIO_MODE_OUTPUT_OD;
  GPIO_InitStruct.Pull = GPIO_NOPULL;
  GPIO_InitStruct.Speed = GPIO_SPEED_FREQ_LOW;
  HAL_GPIO_Init(GPIOE, &GPIO_InitStruct);

  /*Configure GPIO pins : GPIO_OUT23_Pin GPIO_OUT22_Pin */
  GPIO_InitStruct.Pin = GPIO_OUT23_Pin|GPIO_OUT22_Pin;
  GPIO_InitStruct.Mode = GPIO_MODE_OUTPUT_PP;
  GPIO_InitStruct.Pull = GPIO_PULLUP;
  GPIO_InitStruct.Speed = GPIO_SPEED_FREQ_VERY_HIGH;
  HAL_GPIO_Init(GPIOE, &GPIO_InitStruct);

  /*Configure GPIO pins : GPIO_OUT21_Pin GPIO_OUT20_Pin GPIO_OUT19_Pin */
  GPIO_InitStruct.Pin = GPIO_OUT21_Pin|GPIO_OUT20_Pin|GPIO_OUT19_Pin;
  GPIO_InitStruct.Mode = GPIO_MODE_OUTPUT_PP;
  GPIO_InitStruct.Pull = GPIO_PULLUP;
  GPIO_InitStruct.Speed = GPIO_SPEED_FREQ_VERY_HIGH;
  HAL_GPIO_Init(GPIOB, &GPIO_InitStruct);

  /*Configure GPIO pins : SDIO_D0_Pin SDIO_D1_Pin SDIO_D2_Pin SDIO_D3_Pin
                           SDIO_CK_Pin */
  GPIO_InitStruct.Pin = SDIO_D0_Pin|SDIO_D1_Pin|SDIO_D2_Pin|SDIO_D3_Pin
                          |SDIO_CK_Pin;
  GPIO_InitStruct.Mode = GPIO_MODE_AF_PP;
  GPIO_InitStruct.Pull = GPIO_PULLUP;
  GPIO_InitStruct.Speed = GPIO_SPEED_FREQ_VERY_HIGH;
  GPIO_InitStruct.Alternate = GPIO_AF12_SDIO;
  HAL_GPIO_Init(GPIOC, &GPIO_InitStruct);

  /*Configure GPIO pin : RS485DE_Pin */
  GPIO_InitStruct.Pin = RS485DE_Pin;
  GPIO_InitStruct.Mode = GPIO_MODE_OUTPUT_OD;
  GPIO_InitStruct.Pull = GPIO_NOPULL;
  GPIO_InitStruct.Speed = GPIO_SPEED_FREQ_VERY_HIGH;
  HAL_GPIO_Init(RS485DE_GPIO_Port, &GPIO_InitStruct);

  /*Configure GPIO pin : F_CS_Pin */
  GPIO_InitStruct.Pin = F_CS_Pin;
  GPIO_InitStruct.Mode = GPIO_MODE_OUTPUT_PP;
  GPIO_InitStruct.Pull = GPIO_PULLUP;
  GPIO_InitStruct.Speed = GPIO_SPEED_FREQ_LOW;
  HAL_GPIO_Init(F_CS_GPIO_Port, &GPIO_InitStruct);

  /*Configure GPIO pin : SDIO_CMD_Pin */
  GPIO_InitStruct.Pin = SDIO_CMD_Pin;
  GPIO_InitStruct.Mode = GPIO_MODE_AF_PP;
  GPIO_InitStruct.Pull = GPIO_PULLUP;
  GPIO_InitStruct.Speed = GPIO_SPEED_FREQ_VERY_HIGH;
  GPIO_InitStruct.Alternate = GPIO_AF12_SDIO;
  HAL_GPIO_Init(SDIO_CMD_GPIO_Port, &GPIO_InitStruct);

  /*Configure GPIO pin : PB4 */
  GPIO_InitStruct.Pin = GPIO_PIN_4;
  GPIO_InitStruct.Mode = GPIO_MODE_AF_PP;
  GPIO_InitStruct.Pull = GPIO_PULLUP;
  GPIO_InitStruct.Speed = GPIO_SPEED_FREQ_HIGH;
  GPIO_InitStruct.Alternate = GPIO_AF5_SPI1;
  HAL_GPIO_Init(GPIOB, &GPIO_InitStruct);

  /*Configure GPIO pin : PB5 */
  GPIO_InitStruct.Pin = GPIO_PIN_5;
  GPIO_InitStruct.Mode = GPIO_MODE_AF_PP;
  GPIO_InitStruct.Pull = GPIO_NOPULL;
  GPIO_InitStruct.Speed = GPIO_SPEED_FREQ_HIGH;
  GPIO_InitStruct.Alternate = GPIO_AF5_SPI1;
  HAL_GPIO_Init(GPIOB, &GPIO_InitStruct);

}

/* USER CODE BEGIN 4 */
void HAL_TIM_PeriodElapsedCallback(TIM_HandleTypeDef *htim)
{
  /* USER CODE BEGIN Callback 0 */
	if(htim->Instance == TIM7) {
		mscounter++;
		if((mscounter % 10) == 0) {

		}
		if((mscounter % 100) == 0) {
			Timer_DeliSecond_Flag = 1;
			if(Running_Flag){
				TotalTime++;
				fProcessTime[CurrentProcess]++;
				if(EndTimer_Flag == 0){
					EndTimeCounter--;
					if(EndTimeCounter>30000){
						EndTimeCounter=0;
					}
					if(EndTimeCounter == 0){
						EndTimer_Flag = 1;
						Endtime_Check_Process();
						CurrentStep++;
					}
					if(StepTime[CurrentStep] > 0){
						ProcessTime[CurrentProcess]--;
						StepTime[CurrentStep]--;
						CycleTime--;
					}

					//?��?�� 방�?
					if(StepTime[CurrentStep] <= 0){
						StepTime[CurrentStep]=0;
					}
					if(ProcessTime[CurrentProcess] <= 0){
						ProcessTime[CurrentProcess]=0;
					}
					if(CycleTime <= 0){
						CycleTime=0;
					}
					//DeviceErrorProcess();
				}
			}
			if(SelfTestMode>=1&&SelfTestMode<=4){
				if(EndTimer_Flag == 0){
					EndTimeCounter--;
					if(EndTimeCounter == 0){
						EndTimer_Flag = 1;
					}
					EndTestTimeCounter--;
					if(EndTestTimeCounter == 0){
						EndTestTimeCounter = 1;
					}
				}
			}
		}
		if((mscounter % 500) == 0){
			Timer_Half_1s_Flag = 1;
			HAL_GPIO_TogglePin(LED_GR_GPIO_Port, LED_GR_Pin);
		}
		if(mscounter >= 1000) {
			mscounter = 0;
			Timer_1s_Flag = 1;
		}
	}
  /* USER CODE END Callback 0 */

  /* USER CODE BEGIN Callback 1 */

  /* USER CODE END Callback 1 */
}
/* USER CODE END 4 */

void Error_Handler(void)
{
  /* USER CODE BEGIN Error_Handler_Debug */
  /* User can add his own implementation to report the HAL error return state */
	/*
  __disable_irq();
  while (1)
  {
	  DisplayFirstPage();
  }
  */
  /* USER CODE END Error_Handler_Debug */
}
